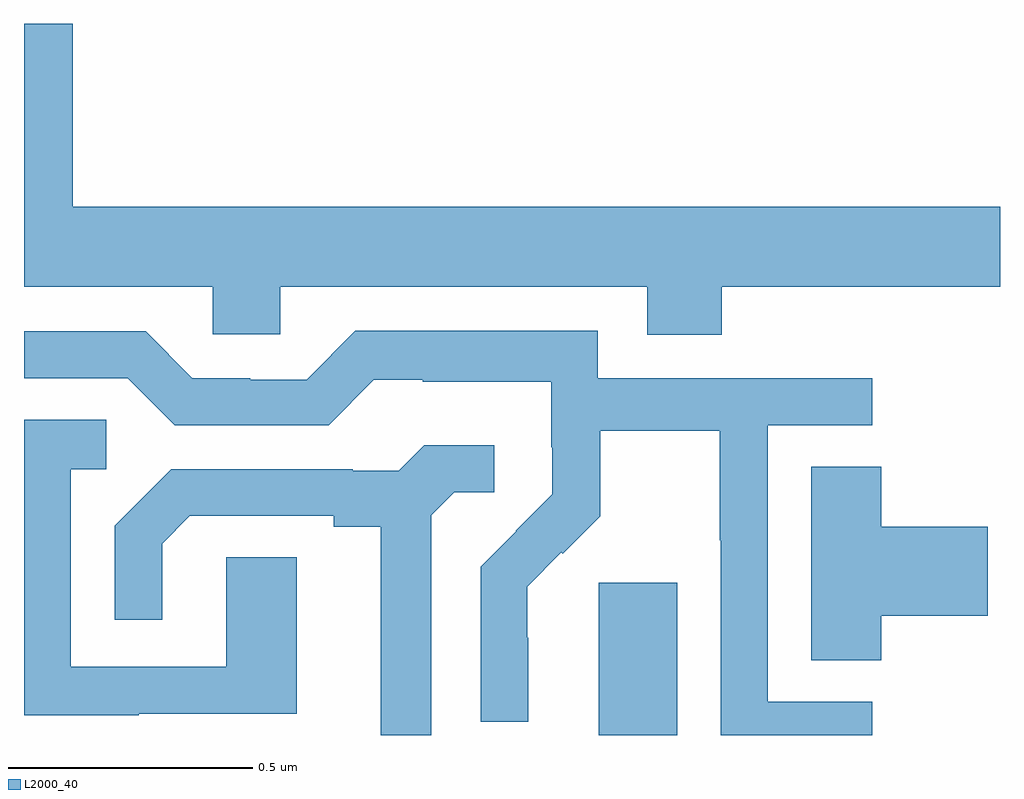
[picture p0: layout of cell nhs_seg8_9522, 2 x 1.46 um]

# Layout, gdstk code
import gdstk
lib = gdstk.Library(unit=1e-6, precision=1e-09)
def R(c, l, rs):  # rectangles x0, y0, x1, y1
    for r in rs: c.add(gdstk.rectangle(r[:2], r[2:], *l))
def P(c, l, *ps):  # polygons
    for p in ps: c.add(gdstk.Polygon(p, *l))
L2000_40 = (2000, 40)

nhs_seg8_9522 = lib.new_cell('nhs_seg8_9522')
R(nhs_seg8_9522, L2000_40, [(238.178,1128.9,238.339,1129.213)])
P(nhs_seg8_9522, L2000_40, [(238.43,1129.82),(239,1129.82),(239,1129.984),(237.1,1129.984),(237.1,1130.359),(237,1130.359),(237,1129.82),(237.387,1129.82),(237.387,1129.722),(237.525,1129.722),(237.525,1129.82),(238.277,1129.82),(238.277,1129.721),(238.43,1129.721)],
  [(238.738,1128.969),(238.524,1128.969),(238.524,1129.536),(238.738,1129.536),(238.738,1129.632),(238.176,1129.632),(238.176,1129.729),(237.679,1129.729),(237.579,1129.629),(237.464,1129.629),(237.464,1129.632),(237.345,1129.632),(237.249,1129.728),(237,1129.728),(237,1129.632),(237.213,1129.632),(237.309,1129.536),(237.624,1129.536),(237.717,1129.629),(237.817,1129.629),(237.817,1129.625),(238.08,1129.625),(238.08,1129.491),(238.082,1129.491),(238.082,1129.394),(238.008,1129.32),(238.009,1129.319),(237.936,1129.246),(237.936,1128.928),(238.033,1128.928),(238.033,1129.1),(238.031,1129.1),(238.031,1129.205),(238.101,1129.275),(238.104,1129.272),(238.181,1129.349),(238.181,1129.524),(238.426,1129.524),(238.426,1129.3),(238.428,1129.3),(238.428,1128.9),(238.738,1128.9)],
  [(237.235,1128.945),(237.559,1128.945),(237.559,1129.265),(237.414,1129.265),(237.414,1129.041),(237.096,1129.041),(237.096,1129.446),(237.169,1129.446),(237.169,1129.547),(237,1129.547),(237,1128.941),(237.235,1128.941)],
  [(237.835,1129.351),(237.882,1129.398),(237.964,1129.398),(237.964,1129.495),(237.82,1129.495),(237.768,1129.443),(237.674,1129.443),(237.674,1129.446),(237.302,1129.446),(237.186,1129.33),(237.186,1129.137),(237.283,1129.137),(237.283,1129.293),(237.34,1129.35),(237.635,1129.35),(237.635,1129.328),(237.731,1129.328),(237.731,1128.9),(237.835,1128.9)],
  [(238.757,1129.145),(238.975,1129.145),(238.975,1129.328),(238.757,1129.328),(238.757,1129.451),(238.613,1129.451),(238.613,1129.054),(238.757,1129.054)])

lib.write_gds('nhs_seg8_9522.gds')
